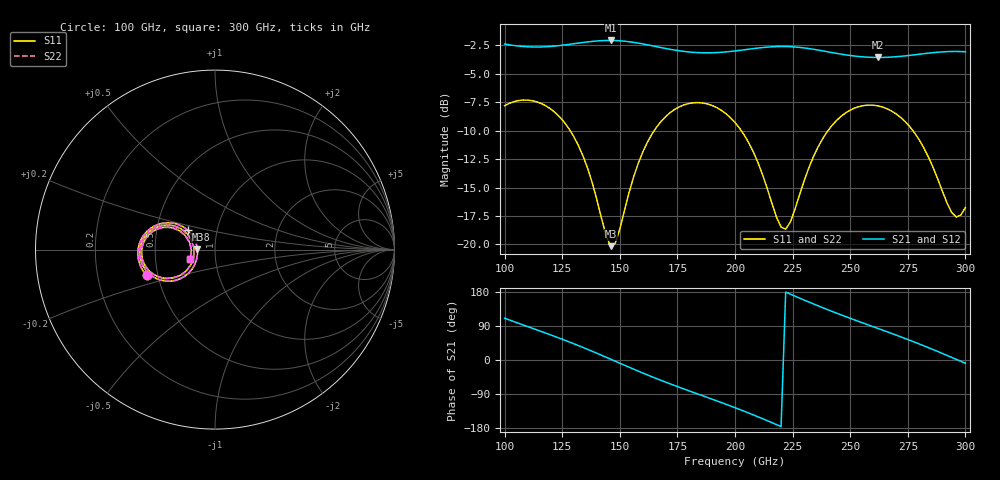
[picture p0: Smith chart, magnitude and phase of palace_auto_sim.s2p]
#  GHZ S DB R 50
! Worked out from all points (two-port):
!   101 points, 100 GHz to 300 GHz, reference 50 ohm
!   highest |S21| = -2.08 dB at 146 GHz (marker M1); lowest = -3.6 dB at 262 GHz (marker M2)
!   |S21| within 3 dB of the highest: start of sweep to end of sweep
!   lowest |S11| = -20.2 dB at 146 GHz (marker M3), VSWR 1.22, Z = 41.1 + j0.352 ohm
!   |S11| at or under -10 dB: 128.5 GHz to 164.9 GHz (36.5 GHz wide, 24.9 % of centre); 202.7 GHz to 240.4 GHz (37.67 GHz wide, 17 % of centre); 277.2 GHz to end of sweep
!   |S22| runs from -20.1 to -7.3 dB; largest |S21 - S12| = 8.5e-14
!   S11 on the Smith chart (normalised r, x): 100 GHz: 0.43, -0.15; 138 GHz: 0.72, +0.16; 300 GHz: 0.76, -0.08
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100  -7.81 -159.5  -2.39 110.3  -2.39 110.3  -7.81 -159.4
108  -7.31 -173.9  -2.60 92.6  -2.60 92.6  -7.31 -173.8
118  -7.83 168.7  -2.63 70.6  -2.63 70.6  -7.83 168.8
134  -12.21 145.5  -2.25 33.2  -2.25 33.2  -12.20 145.7
138  -14.57 144.5  -2.16 23.0  -2.16 23.0  -14.55 144.8
146  -20.15 177.5  -2.08 2.1  -2.08 2.1  -20.09 177.7
148  -19.91 -165.1  -2.08 -3.2  -2.08 -3.2  -19.85 -165.1
156  -14.07 -138.3  -2.24 -24.2  -2.24 -24.2  -14.05 -138.3
168  -9.17 -150.7  -2.70 -53.9  -2.70 -53.9  -9.16 -150.7
184  -7.54 -176.9  -3.14 -90.0  -3.14 -90.0  -7.53 -176.8
200  -9.29 158.2  -3.00 -125.8  -3.00 -125.8  -9.27 158.4
212  -13.89 148.8  -2.70 -155.0  -2.70 -155.0  -13.86 149.2
218  -17.60 162.3  -2.61 -170.4  -2.61 -170.4  -17.51 162.6
222  -18.66 -173.5  -2.61 179.1  -2.61 179.1  -18.55 -173.5
234  -12.31 -143.6  -2.85 148.1  -2.85 148.1  -12.28 -143.8
248  -8.44 -160.3  -3.34 114.6  -3.34 114.6  -8.43 -160.3
262  -7.82 178.3  -3.57 83.4  -3.57 83.4  -7.81 178.3
268  -8.28 169.3  -3.53 70.1  -3.53 70.1  -8.27 169.4
278  -10.22 156.3  -3.33 47.0  -3.33 47.0  -10.20 156.5
286  -13.25 152.2  -3.15 27.5  -3.15 27.5  -13.21 152.5
294  -17.18 170.1  -3.04 7.0  -3.04 7.0  -17.09 170.3
300  -16.75 -160.0  -3.07 -8.6  -3.07 -8.6  -16.67 -160.3
